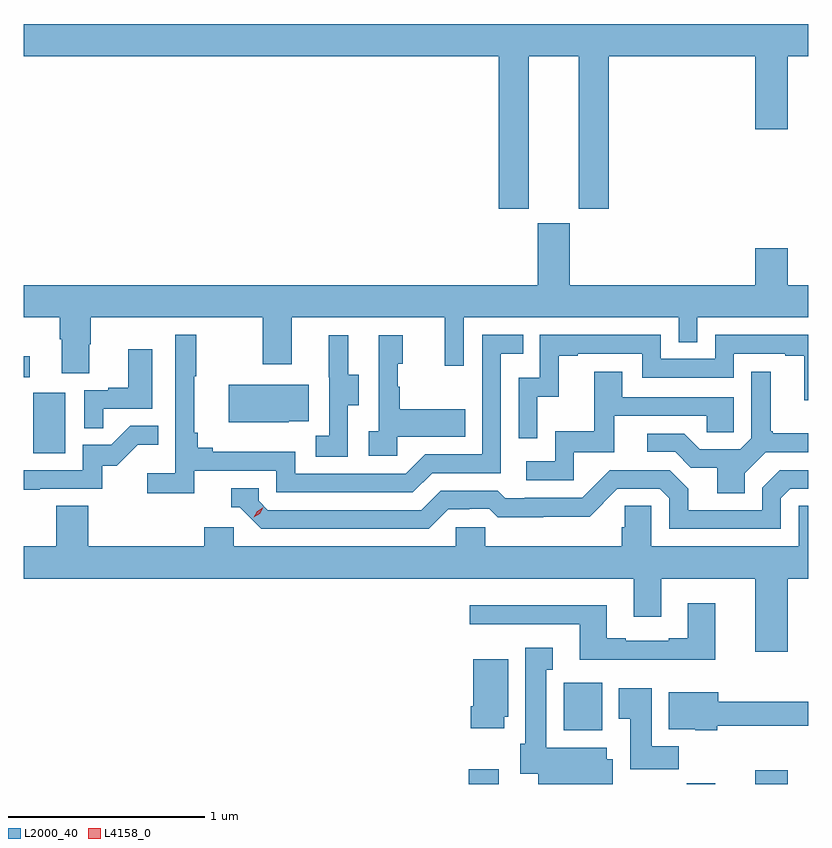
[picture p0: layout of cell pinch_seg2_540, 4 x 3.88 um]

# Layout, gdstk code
import gdstk
lib = gdstk.Library(unit=1e-6, precision=1e-09)
def R(c, l, rs):  # rectangles x0, y0, x1, y1
    for r in rs: c.add(gdstk.rectangle(r[:2], r[2:], *l))
def P(c, l, *ps):  # polygons
    for p in ps: c.add(gdstk.Polygon(p, *l))
L2000_40 = (2000, 40)
L4158_0 = (4158, 0)

pinch_seg2_540 = lib.new_cell('pinch_seg2_540')
R(pinch_seg2_540, L2000_40, [(1110.599,614.62,1110.751,614.695), (1111.711,614.62,1111.855,614.624), (1112.06,614.62,1112.224,614.689), (1111.082,614.894,1111.279,615.136), (1108.376,616.308,1108.54,616.615), (1108.329,616.695,1108.36,616.801)])
P(pinch_seg2_540, L2000_40, [(1110.904,618.332),(1111.16,618.332),(1111.16,617.553),(1111.313,617.553),(1111.313,618.332),(1112.06,618.332),(1112.06,617.958),(1112.224,617.958),(1112.224,618.332),(1112.329,618.332),(1112.329,618.496),(1108.329,618.496),(1108.329,618.332),(1110.752,618.332),(1110.752,617.553),(1110.904,617.553)],
  [(1108.663,616.863),(1108.671,616.863),(1108.671,617),(1109.548,617),(1109.548,616.761),(1109.695,616.761),(1109.695,617),(1110.476,617),(1110.476,616.752),(1110.573,616.752),(1110.573,617),(1111.668,617),(1111.668,616.873),(1111.764,616.873),(1111.764,617),(1112.329,617),(1112.329,617.164),(1112.224,617.164),(1112.224,617.353),(1112.06,617.353),(1112.06,617.164),(1111.114,617.164),(1111.114,617.481),(1110.95,617.481),(1110.95,617.164),(1108.329,617.164),(1108.329,617),(1108.511,617),(1108.511,616.888),(1108.523,616.888),(1108.523,616.714),(1108.663,616.714)],
  [(1109.198,616.218),(1109.616,616.218),(1109.616,616.107),(1110.313,616.107),(1110.412,616.206),(1110.762,616.206),(1110.762,616.815),(1110.875,616.815),(1110.875,616.911),(1110.666,616.911),(1110.666,616.302),(1110.375,616.302),(1110.276,616.203),(1109.712,616.203),(1109.712,616.315),(1109.293,616.315),(1109.293,616.334),(1109.216,616.334),(1109.216,616.411),(1109.197,616.411),(1109.197,616.699),(1109.209,616.699),(1109.209,616.912),(1109.1,616.912),(1109.1,616.204),(1108.959,616.204),(1108.959,616.102),(1109.198,616.102)],
  [(1110.948,616.595),(1111.058,616.595),(1111.058,616.803),(1111.153,616.803),(1111.153,616.815),(1111.482,616.815),(1111.482,616.692),(1111.95,616.692),(1111.95,616.815),(1112.213,616.815),(1112.213,616.803),(1112.309,616.803),(1112.309,616.577),(1112.329,616.577),(1112.329,616.911),(1111.854,616.911),(1111.854,616.788),(1111.578,616.788),(1111.578,616.911),(1110.96,616.911),(1110.96,616.692),(1110.852,616.692),(1110.852,616.383),(1110.948,616.383)],
  [(1109.982,616.552),(1110.037,616.552),(1110.037,616.707),(1109.983,616.707),(1109.983,616.909),(1109.885,616.909),(1109.885,616.695),(1109.886,616.695),(1109.886,616.395),(1109.817,616.395),(1109.817,616.288),(1109.982,616.288)],
  [(1110.234,616.391),(1110.581,616.391),(1110.581,616.531),(1110.247,616.531),(1110.247,616.646),(1110.237,616.646),(1110.237,616.764),(1110.262,616.764),(1110.262,616.909),(1110.138,616.909),(1110.138,616.418),(1110.087,616.418),(1110.087,616.293),(1110.234,616.293)],
  [(1108.733,616.533),(1108.984,616.533),(1108.984,616.837),(1108.862,616.837),(1108.862,616.642),(1108.759,616.642),(1108.759,616.629),(1108.638,616.629),(1108.638,616.435),(1108.733,616.435)],
  [(1111.134,616.311),(1111.339,616.311),(1111.339,616.497),(1111.813,616.497),(1111.813,616.413),(1111.95,616.413),(1111.95,616.593),(1111.381,616.593),(1111.381,616.723),(1111.237,616.723),(1111.237,616.42),(1111.038,616.42),(1111.038,616.266),(1110.891,616.266),(1110.891,616.17),(1111.134,616.17)],
  [(1112.005,616.204),(1112.112,616.311),(1112.329,616.311),(1112.329,616.408),(1112.149,616.408),(1112.149,616.42),(1112.137,616.42),(1112.137,616.723),(1112.04,616.723),(1112.04,616.383),(1111.983,616.326),(1111.777,616.326),(1111.696,616.407),(1111.509,616.407),(1111.509,616.314),(1111.65,616.314),(1111.73,616.234),(1111.865,616.234),(1111.865,616.102),(1112.005,616.102)],
  [(1109.681,616.469),(1109.783,616.469),(1109.783,616.657),(1109.375,616.657),(1109.375,616.466),(1109.681,616.466)],
  [(1108.409,616.125),(1108.728,616.125),(1108.728,616.242),(1108.804,616.242),(1108.911,616.349),(1109.015,616.349),(1109.015,616.448),(1108.872,616.448),(1108.774,616.35),(1108.629,616.35),(1108.629,616.221),(1108.329,616.221),(1108.329,616.12),(1108.409,616.12)],
  [(1110.493,616.02),(1110.6,616.02),(1110.6,616.023),(1110.703,616.023),(1110.745,615.981),(1110.978,615.981),(1110.978,615.983),(1111.214,615.983),(1111.356,616.125),(1111.572,616.125),(1111.62,616.077),(1111.62,615.921),(1112.19,615.921),(1112.19,616.077),(1112.238,616.125),(1112.329,616.125),(1112.329,616.221),(1112.184,616.221),(1112.094,616.131),(1112.094,616.017),(1111.717,616.017),(1111.717,616.127),(1111.623,616.221),(1111.317,616.221),(1111.176,616.08),(1110.883,616.08),(1110.883,616.077),(1110.784,616.077),(1110.745,616.116),(1110.456,616.116),(1110.357,616.017),(1109.574,616.017),(1109.526,616.065),(1109.526,616.128),(1109.387,616.128),(1109.387,616.032),(1109.43,616.032),(1109.541,615.921),(1110.394,615.921)],
  [(1110.531,615.93),(1110.531,615.832),(1109.4,615.832),(1109.4,615.93),(1109.249,615.93),(1109.249,615.832),(1108.658,615.832),(1108.658,616.04),(1108.493,616.04),(1108.493,615.832),(1108.329,615.832),(1108.329,615.668),(1111.439,615.668),(1111.439,615.474),(1111.579,615.474),(1111.579,615.668),(1112.06,615.668),(1112.06,615.294),(1112.224,615.294),(1112.224,615.668),(1112.329,615.668),(1112.329,616.04),(1112.28,616.04),(1112.28,615.832),(1111.53,615.832),(1111.53,616.04),(1111.393,616.04),(1111.393,615.93),(1111.379,615.93),(1111.379,615.832),(1110.681,615.832),(1110.681,615.93)],
  [(1111.855,615.541),(1111.715,615.541),(1111.715,615.364),(1111.619,615.364),(1111.619,615.351),(1111.399,615.351),(1111.399,615.364),(1111.303,615.364),(1111.303,615.532),(1110.603,615.532),(1110.603,615.435),(1111.163,615.435),(1111.163,615.254),(1111.855,615.254)],
  [(1111.333,614.747),(1111.303,614.747),(1111.303,614.806),(1110.994,614.806),(1110.994,615.203),(1111.027,615.203),(1111.027,615.316),(1110.887,615.316),(1110.887,614.826),(1110.86,614.826),(1110.86,614.672),(1110.953,614.672),(1110.953,614.62),(1111.333,614.62)],
  [(1110.778,614.964),(1110.799,614.964),(1110.799,615.256),(1110.62,615.256),(1110.62,615.016),(1110.608,615.016),(1110.608,614.904),(1110.778,614.904)],
  [(1111.67,614.812),(1111.531,614.812),(1111.531,615.109),(1111.364,615.109),(1111.364,614.953),(1111.421,614.953),(1111.421,614.694),(1111.67,614.694)],
  [(1111.866,614.918),(1112.329,614.918),(1112.329,615.04),(1111.87,615.04),(1111.87,615.088),(1111.619,615.088),(1111.619,614.9),(1111.752,614.9),(1111.752,614.894),(1111.866,614.894)])
P(pinch_seg2_540, L4158_0, [(1109.502,615.98),(1109.502,615.98),(1109.519,616.012),(1109.55,616.031),(1109.55,616.031),(1109.55,616.031),(1109.533,615.998),(1109.502,615.98)])

lib.write_gds('pinch_seg2_540.gds')
